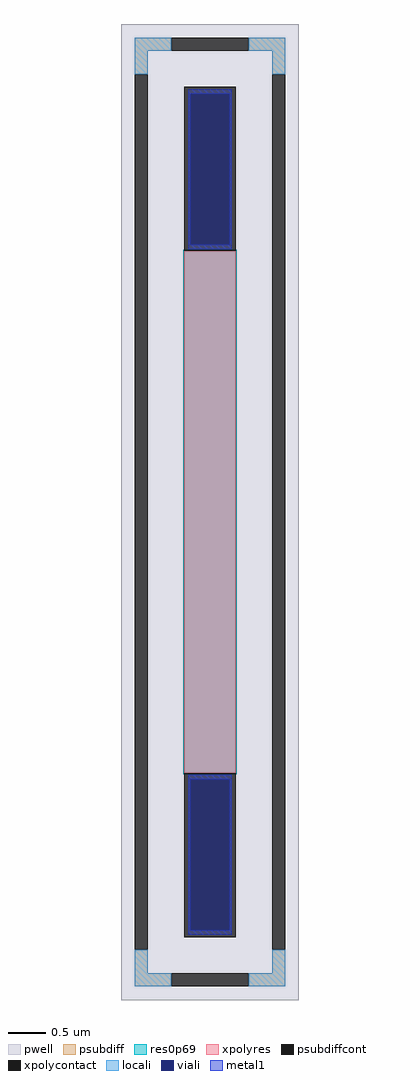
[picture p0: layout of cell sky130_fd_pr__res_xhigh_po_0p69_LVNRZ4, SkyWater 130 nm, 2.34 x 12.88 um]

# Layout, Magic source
magic
tech sky130A
<< pwell >>
rect -117 -644 117 644
<< psubdiff >>
rect -99 609 -51 626
rect 51 609 99 626
rect -99 578 -82 609
rect 82 578 99 609
rect -99 -609 -82 -578
rect 82 -609 99 -578
rect -99 -626 -51 -609
rect 51 -626 99 -609
<< psubdiffcont >>
rect -51 609 51 626
rect -99 -578 -82 578
rect 82 -578 99 578
rect -51 -626 51 -609
<< xpolycontact >>
rect -34 345 34 561
rect -34 -561 34 -345
<< xpolyres >>
rect -34 -345 34 345
<< locali >>
rect -99 609 -51 626
rect 51 609 99 626
rect -99 578 -82 609
rect 82 578 99 609
rect -99 -609 -82 -578
rect 82 -609 99 -578
rect -99 -626 -51 -609
rect 51 -626 99 -609
<< viali >>
rect -26 353 26 552
rect -26 -552 26 -353
<< metal1 >>
rect -29 552 29 558
rect -29 353 -26 552
rect 26 353 29 552
rect -29 347 29 353
rect -29 -353 29 -347
rect -29 -552 -26 -353
rect 26 -552 29 -353
rect -29 -558 29 -552
<< res0p69 >>
rect -35 -346 35 346
<< properties >>
string FIXED_BBOX -91 -617 91 617
string gencell sky130_fd_pr__res_xhigh_po_0p69
string library sky130
string parameters w 0.690 l 6.9 m 1 nx 1 wmin 0.690 lmin 0.50 rho 2000 val 20.545k dummy 0 dw 0.0 term 188.2 sterm 0.0 caplen 0 wmax 0.690 guard 1 glc 1 grc 1 gtc 1 gbc 1 compatible {sky130_fd_pr__res_xhigh_po_0p35  sky130_fd_pr__res_xhigh_po_0p69 sky130_fd_pr__res_xhigh_po_1p41  sky130_fd_pr__res_xhigh_po_2p85 sky130_fd_pr__res_xhigh_po_5p73} snake 0 full_metal 1 n_guard 0 hv_guard 0 vias 1 viagb 0 viagt 0 viagl 0 viagr 0
<< end >>
